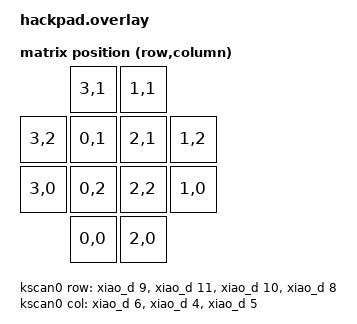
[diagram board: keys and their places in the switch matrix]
#include <dt-bindings/led/led.h>
#include <dt-bindings/zmk/matrix_transform.h>
#include <physical_layouts.dtsi>

// i have zero clue if i hold any kind of copyright over this code. don't ask, just use it.

/{
    kscan0: kscan0 {
        compatible = "zmk,kscan-gpio-matrix";
        diode-direction = "col2row";
        wakeup-source;

        col-gpios
            = <&xiao_d 6 GPIO_ACTIVE_HIGH>
            , <&xiao_d 4 GPIO_ACTIVE_HIGH>
            , <&xiao_d 5 GPIO_ACTIVE_HIGH>
            ;

        row-gpios
            = <&xiao_d 9 (GPIO_ACTIVE_HIGH | GPIO_PULL_DOWN)>
            , <&xiao_d 11 (GPIO_ACTIVE_HIGH | GPIO_PULL_DOWN)>
            , <&xiao_d 10 (GPIO_ACTIVE_HIGH | GPIO_PULL_DOWN)>
            , <&xiao_d 8 (GPIO_ACTIVE_HIGH | GPIO_PULL_DOWN)>
            ;
    };

    default_transform: keymap_transform0 {
        compatible = "zmk,matrix-transform";
        columns = <3>; // Length of the "col-gpios" array
        rows = <4>; // Length of the "row-gpios" array
        map = <
        //           Key 1 | Key 2
                    RC(3,1) RC(1,1)
        //   Key 3 | Key 4 | Key 5 | Key 6
            RC(3,2) RC(0,1) RC(2,1) RC(1,2)
        //   Key 7 | Key 8 | Key 9 | Key 10
            RC(3,0) RC(0,2) RC(2,2) RC(1,0)
        //          Key 11 | Key 12
                    RC(0,0) RC(2,0)
        >;
    };

    keypad_position_map {
        compatible = "zmk,physical-layout-position-map";
        complete;

        macropad_map: macropad {
            physical-layout = <&macropad_layout>;
            positions
                = <    0  1   >
                , < 2  3  4  5>
                , < 6  7  8  9>
                , <   10  11  >;
        };

    };

    //
    // defaults configuration
    // ----------------------

    default_layout: default_layout {
        compatible = "zmk,physical-layout";
        display-name = "Default Layout";
        transform = <&default_transform>;
        kscan = <&kscan0>;
    };

    chosen {
        // Layout configuration
        zmk.physical-layout = &default_layout;
        // Other chosen items
    };
};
